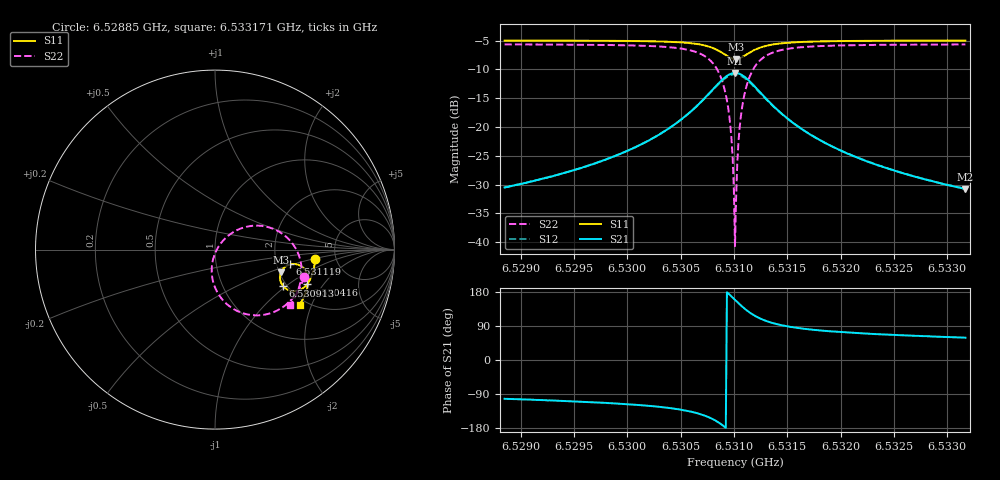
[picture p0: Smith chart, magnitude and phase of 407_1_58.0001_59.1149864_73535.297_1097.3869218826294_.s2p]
#  HZ  S  RI  R  50.00
! Rohde & Schwarz Vector Network Analyzer
! Rohde-Schwarz,ZNB20-2Port,1311601062101988,3.16
! Created: UTC 3/21/2024, 1:08:29 AM
! freq[Hz]  re:S11  im:S11  re:S21  im:S21  re:S12  im:S12  re:S22  im:S22
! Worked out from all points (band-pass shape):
!   401 points, 6.52885 GHz to 6.533171 GHz, reference 50 ohm
!   highest |S21| = -10.62 dB at 6.531011 GHz (marker M1); lowest = -30.8 dB at 6.533171 GHz (marker M2)
!   |S21| within 3 dB of the highest: 6.530796 GHz to 6.531228 GHz (431.7 kHz wide, 0.00661 % of centre)
!   lowest |S11| = -8.2 dB at 6.531021 GHz (marker M3), VSWR 2.27, Z = 102 - j30.4 ohm
!   |S11| at or under -10 dB: nowhere
!   |S22| runs from -40.7 to -5.7 dB; largest |S21 - S12| = 0.011
!   S11 on the Smith chart (normalised r, x): 6.52885 GHz: 3.48, -0.51; 6.530416 GHz: 2.54, -1.41; 6.530913 GHz: 1.91, -0.93; 6.531119 GHz: 2.37, -0.48; 6.533171 GHz: 1.82, -1.65
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6.5288501e9  0.5589 -0.0505  -0.0064 -0.0291  -0.00688 -0.0291  0.4972 -0.1533
6.5295738e9  0.5494 -0.1101  -0.0153 -0.0416  -0.0162 -0.0414  0.468 -0.2196
6.5302976e9  0.522 -0.1804  -0.0473 -0.0714  -0.0492 -0.0703  0.3902 -0.3117
6.5304164e9  0.5119 -0.1944  -0.0613 -0.0801  -0.0635 -0.0783  0.3608 -0.3317
6.5307621e9  0.4424 -0.2313  -0.1683 -0.0942  -0.1701 -0.0876  0.1599 -0.3559
6.5308485e9  0.4056 -0.2237  -0.2252 -0.0672  -0.2241 -0.0581  0.0642 -0.3021
6.5309133e9  0.377 -0.2002  -0.2673 -0.017  -0.2624 -0.00761  0.000167 -0.211
6.5309565e9  0.3644 -0.1736  -0.2832 0.0338  -0.2751 0.0414  -0.0184 -0.124
6.5309781e9  0.362 -0.158  -0.2839 0.0625  -0.2749 0.0687  -0.0153 -0.0761
6.5309889e9  0.3623 -0.1499  -0.2824 0.0772  -0.2727 0.0827  -0.0101 -0.0523
6.5309997e9  0.3632 -0.1419  -0.2792 0.0919  -0.2693 0.0964  -0.00268 -0.0288
6.5310105e9  0.3651 -0.134  -0.2745 0.1062  -0.2645 0.1098  0.00723 -0.00575
6.5310213e9  0.3678 -0.1262  -0.2686 0.12  -0.2585 0.1227  0.0191 0.0159
6.5310321e9  0.3714 -0.1188  -0.2611 0.1332  -0.2512 0.1349  0.0334 0.0362
6.5310537e9  0.3806 -0.1057  -0.243 0.1566  -0.2337 0.1565  0.0667 0.0716
6.5310645e9  0.3861 -0.0999  -0.2327 0.1664  -0.2237 0.1659  0.0853 0.0864
6.5311185e9  0.4178 -0.0824  -0.175 0.1979  -0.1685 0.1952  0.1859 0.1294
6.5311942e9  0.459 -0.0829  -0.1024 0.2004  -0.0991 0.1976  0.3085 0.1214
6.5313022e9  0.4948 -0.1048  -0.0398 0.1713  -0.0382 0.1697  0.4109 0.0579
6.5317343e9  0.5191 -0.1837  0.0147 0.0827  0.0156 0.0825  0.4829 -0.1284
6.532458e9  0.4991 -0.2558  0.017 0.0397  0.0177 0.0394  0.4552 -0.2446
6.533171e9  0.4714 -0.3081  0.015 0.0248  0.0154 0.0246  0.4203 -0.3063
